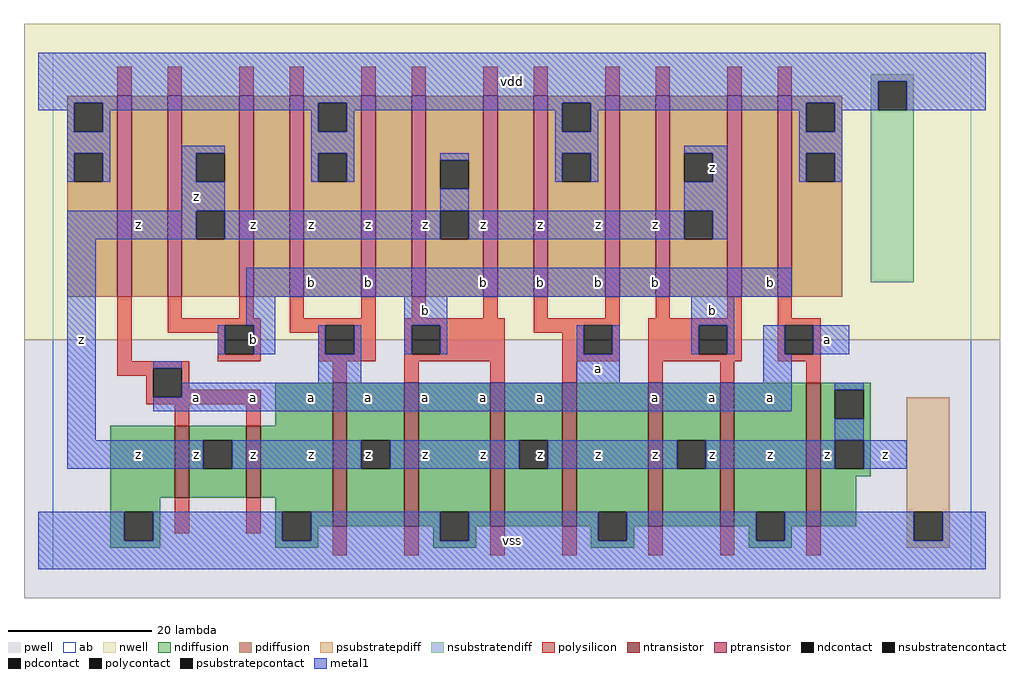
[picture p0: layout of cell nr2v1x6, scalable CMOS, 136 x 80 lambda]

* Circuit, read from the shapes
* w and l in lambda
.subckt nr2v1x6 a b vdd vss z
M1 z a vss vss nfet w=10 l=2 m=2
M2 z a vss vss nfet w=20 l=2 m=3
M3 vss b z vss nfet w=20 l=2 m=4
M4 n1 a vdd vdd pfet w=28 l=2
M5 z b n1 vdd pfet w=28 l=2
M6 n2 b z vdd pfet w=28 l=2
M7 vdd a n2 vdd pfet w=28 l=2
M8 n3 a vdd vdd pfet w=28 l=2
M9 z b n3 vdd pfet w=28 l=2
M10 n4 b z vdd pfet w=28 l=2
M11 vdd a n4 vdd pfet w=28 l=2
M12 n5 a vdd vdd pfet w=28 l=2
M13 z b n5 vdd pfet w=28 l=2
M14 n6 b z vdd pfet w=28 l=2
M15 vdd a n6 vdd pfet w=28 l=2
.ends

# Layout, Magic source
magic
tech scmos
<< ab >>
rect 0 0 128 72
<< pwell >>
rect -4 -4 132 32
<< nwell >>
rect -4 32 132 76
<< polysilicon >>
rect 9 66 11 70
rect 16 66 18 70
rect 26 66 28 70
rect 33 66 35 70
rect 43 66 45 70
rect 50 66 52 70
rect 60 66 62 70
rect 67 66 69 70
rect 77 66 79 70
rect 84 66 86 70
rect 94 66 96 70
rect 101 66 103 70
rect 9 29 11 38
rect 16 35 18 38
rect 26 35 28 38
rect 33 35 35 38
rect 43 35 45 38
rect 50 35 52 38
rect 60 35 62 38
rect 67 35 69 38
rect 77 35 79 38
rect 84 35 86 38
rect 94 35 96 38
rect 16 34 29 35
rect 16 33 24 34
rect 23 30 24 33
rect 28 30 29 34
rect 33 34 45 35
rect 33 33 38 34
rect 23 29 29 30
rect 37 30 38 33
rect 42 30 45 34
rect 37 29 45 30
rect 49 34 63 35
rect 49 30 50 34
rect 54 30 63 34
rect 67 34 79 35
rect 67 33 74 34
rect 49 29 63 30
rect 9 28 19 29
rect 9 27 14 28
rect 13 24 14 27
rect 18 25 19 28
rect 39 26 41 29
rect 49 26 51 29
rect 61 26 63 29
rect 71 30 74 33
rect 78 30 79 34
rect 71 29 79 30
rect 83 34 96 35
rect 83 30 90 34
rect 94 30 96 34
rect 83 29 96 30
rect 101 35 103 38
rect 101 34 107 35
rect 101 30 102 34
rect 106 30 107 34
rect 101 29 107 30
rect 71 26 73 29
rect 83 26 85 29
rect 93 26 95 29
rect 105 26 107 29
rect 18 24 29 25
rect 13 23 29 24
rect 17 20 19 23
rect 27 20 29 23
rect 17 5 19 10
rect 27 5 29 10
rect 39 2 41 6
rect 49 2 51 6
rect 61 2 63 6
rect 71 2 73 6
rect 83 2 85 6
rect 93 2 95 6
rect 105 2 107 6
<< ndiffusion >>
rect 31 20 39 26
rect 8 10 17 20
rect 19 18 27 20
rect 19 14 21 18
rect 25 14 27 18
rect 19 10 27 14
rect 29 10 39 20
rect 8 8 15 10
rect 8 4 10 8
rect 14 4 15 8
rect 31 8 39 10
rect 8 3 15 4
rect 31 4 32 8
rect 36 6 39 8
rect 41 18 49 26
rect 41 14 43 18
rect 47 14 49 18
rect 41 6 49 14
rect 51 8 61 26
rect 51 6 54 8
rect 36 4 37 6
rect 31 3 37 4
rect 53 4 54 6
rect 58 6 61 8
rect 63 18 71 26
rect 63 14 65 18
rect 69 14 71 18
rect 63 6 71 14
rect 73 8 83 26
rect 73 6 76 8
rect 58 4 59 6
rect 53 3 59 4
rect 75 4 76 6
rect 80 6 83 8
rect 85 18 93 26
rect 85 14 87 18
rect 91 14 93 18
rect 85 6 93 14
rect 95 8 105 26
rect 95 6 98 8
rect 80 4 81 6
rect 75 3 81 4
rect 97 4 98 6
rect 102 6 105 8
rect 107 25 114 26
rect 107 21 109 25
rect 113 21 114 25
rect 107 18 114 21
rect 107 14 109 18
rect 113 14 114 18
rect 107 13 114 14
rect 107 6 112 13
rect 102 4 103 6
rect 97 3 103 4
<< pdiffusion >>
rect 2 65 9 66
rect 2 61 3 65
rect 7 61 9 65
rect 2 58 9 61
rect 2 54 3 58
rect 7 54 9 58
rect 2 38 9 54
rect 11 38 16 66
rect 18 58 26 66
rect 18 54 20 58
rect 24 54 26 58
rect 18 50 26 54
rect 18 46 20 50
rect 24 46 26 50
rect 18 38 26 46
rect 28 38 33 66
rect 35 65 43 66
rect 35 61 37 65
rect 41 61 43 65
rect 35 58 43 61
rect 35 54 37 58
rect 41 54 43 58
rect 35 38 43 54
rect 45 38 50 66
rect 52 57 60 66
rect 52 53 54 57
rect 58 53 60 57
rect 52 50 60 53
rect 52 46 54 50
rect 58 46 60 50
rect 52 38 60 46
rect 62 38 67 66
rect 69 65 77 66
rect 69 61 71 65
rect 75 61 77 65
rect 69 58 77 61
rect 69 54 71 58
rect 75 54 77 58
rect 69 38 77 54
rect 79 38 84 66
rect 86 58 94 66
rect 86 54 88 58
rect 92 54 94 58
rect 86 50 94 54
rect 86 46 88 50
rect 92 46 94 50
rect 86 38 94 46
rect 96 38 101 66
rect 103 65 110 66
rect 103 61 105 65
rect 109 61 110 65
rect 103 58 110 61
rect 103 54 105 58
rect 109 54 110 58
rect 103 38 110 54
<< metal1 >>
rect -2 68 130 72
rect -2 65 115 68
rect -2 64 3 65
rect 2 61 3 64
rect 7 64 37 65
rect 7 61 8 64
rect 2 58 8 61
rect 36 61 37 64
rect 41 64 71 65
rect 41 61 42 64
rect 2 54 3 58
rect 7 54 8 58
rect 18 58 24 59
rect 18 54 20 58
rect 36 58 42 61
rect 70 61 71 64
rect 75 64 105 65
rect 75 61 76 64
rect 70 58 76 61
rect 104 61 105 64
rect 109 64 115 65
rect 119 64 130 68
rect 109 61 110 64
rect 36 54 37 58
rect 41 54 42 58
rect 54 57 58 58
rect 18 50 24 54
rect 70 54 71 58
rect 75 54 76 58
rect 88 58 94 59
rect 92 54 94 58
rect 104 58 110 61
rect 104 54 105 58
rect 109 54 110 58
rect 54 50 58 53
rect 88 50 94 54
rect 2 46 20 50
rect 24 46 54 50
rect 58 46 88 50
rect 92 46 94 50
rect 2 18 6 46
rect 27 38 103 42
rect 27 34 31 38
rect 49 34 55 38
rect 89 34 95 38
rect 23 30 24 34
rect 28 30 31 34
rect 37 30 38 34
rect 42 30 43 34
rect 49 30 50 34
rect 54 30 55 34
rect 73 30 74 34
rect 78 30 79 34
rect 89 30 90 34
rect 94 30 95 34
rect 99 30 102 34
rect 106 30 111 34
rect 14 28 18 29
rect 37 26 43 30
rect 73 26 79 30
rect 99 26 103 30
rect 18 24 103 26
rect 14 22 103 24
rect 109 25 113 26
rect 109 18 113 21
rect 2 14 21 18
rect 25 14 43 18
rect 47 14 65 18
rect 69 14 87 18
rect 91 14 109 18
rect 113 14 119 18
rect -2 4 10 8
rect 14 4 32 8
rect 36 4 54 8
rect 58 4 76 8
rect 80 4 98 8
rect 102 4 120 8
rect 124 4 130 8
rect -2 0 130 4
<< ntransistor >>
rect 17 10 19 20
rect 27 10 29 20
rect 39 6 41 26
rect 49 6 51 26
rect 61 6 63 26
rect 71 6 73 26
rect 83 6 85 26
rect 93 6 95 26
rect 105 6 107 26
<< ptransistor >>
rect 9 38 11 66
rect 16 38 18 66
rect 26 38 28 66
rect 33 38 35 66
rect 43 38 45 66
rect 50 38 52 66
rect 60 38 62 66
rect 67 38 69 66
rect 77 38 79 66
rect 84 38 86 66
rect 94 38 96 66
rect 101 38 103 66
<< polycontact >>
rect 24 30 28 34
rect 38 30 42 34
rect 50 30 54 34
rect 14 24 18 28
rect 74 30 78 34
rect 90 30 94 34
rect 102 30 106 34
<< ndcontact >>
rect 21 14 25 18
rect 10 4 14 8
rect 32 4 36 8
rect 43 14 47 18
rect 54 4 58 8
rect 65 14 69 18
rect 76 4 80 8
rect 87 14 91 18
rect 98 4 102 8
rect 109 21 113 25
rect 109 14 113 18
<< pdcontact >>
rect 3 61 7 65
rect 3 54 7 58
rect 20 54 24 58
rect 20 46 24 50
rect 37 61 41 65
rect 37 54 41 58
rect 54 53 58 57
rect 54 46 58 50
rect 71 61 75 65
rect 71 54 75 58
rect 88 54 92 58
rect 88 46 92 50
rect 105 61 109 65
rect 105 54 109 58
<< psubstratepcontact >>
rect 120 4 124 8
<< nsubstratencontact >>
rect 115 64 119 68
<< psubstratepdiff >>
rect 119 8 125 24
rect 119 4 120 8
rect 124 4 125 8
rect 119 3 125 4
<< nsubstratendiff >>
rect 114 68 120 69
rect 114 64 115 68
rect 119 64 120 68
rect 114 40 120 64
<< labels >>
rlabel metal1 20 16 20 16 6 z
rlabel metal1 12 16 12 16 6 z
rlabel metal1 20 24 20 24 6 a
rlabel metal1 4 32 4 32 6 z
rlabel metal1 20 52 20 52 6 z
rlabel metal1 12 48 12 48 6 z
rlabel ndcontact 44 16 44 16 6 z
rlabel metal1 36 16 36 16 6 z
rlabel metal1 28 16 28 16 6 z
rlabel metal1 44 24 44 24 6 a
rlabel metal1 36 24 36 24 6 a
rlabel metal1 28 24 28 24 6 a
rlabel metal1 28 32 28 32 6 b
rlabel metal1 44 40 44 40 6 b
rlabel metal1 36 40 36 40 6 b
rlabel metal1 44 48 44 48 6 z
rlabel metal1 36 48 36 48 6 z
rlabel metal1 28 48 28 48 6 z
rlabel metal1 64 4 64 4 6 vss
rlabel ndcontact 68 16 68 16 6 z
rlabel metal1 60 16 60 16 6 z
rlabel metal1 52 16 52 16 6 z
rlabel metal1 52 24 52 24 6 a
rlabel metal1 68 24 68 24 6 a
rlabel metal1 60 24 60 24 6 a
rlabel metal1 52 36 52 36 6 b
rlabel metal1 68 40 68 40 6 b
rlabel metal1 60 40 60 40 6 b
rlabel metal1 52 48 52 48 6 z
rlabel metal1 68 48 68 48 6 z
rlabel metal1 60 48 60 48 6 z
rlabel metal1 64 68 64 68 6 vdd
rlabel metal1 92 16 92 16 6 z
rlabel metal1 84 16 84 16 6 z
rlabel metal1 100 16 100 16 6 z
rlabel metal1 76 16 76 16 6 z
rlabel metal1 92 24 92 24 6 a
rlabel metal1 84 24 84 24 6 a
rlabel metal1 100 24 100 24 6 a
rlabel metal1 76 28 76 28 6 a
rlabel metal1 76 40 76 40 6 b
rlabel metal1 84 40 84 40 6 b
rlabel metal1 100 40 100 40 6 b
rlabel metal1 92 36 92 36 6 b
rlabel metal1 76 48 76 48 6 z
rlabel metal1 84 48 84 48 6 z
rlabel metal1 92 56 92 56 6 z
rlabel metal1 116 16 116 16 6 z
rlabel metal1 108 16 108 16 6 z
rlabel metal1 108 32 108 32 6 a
<< end >>
